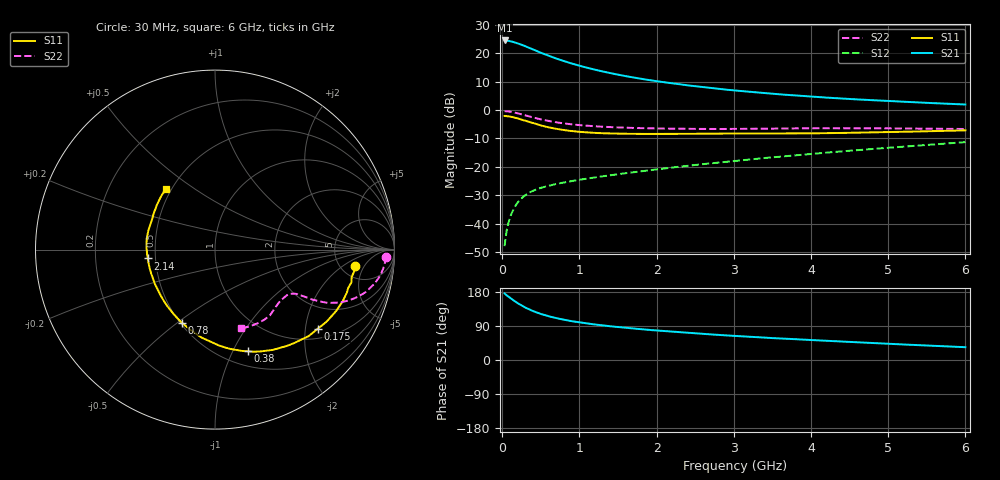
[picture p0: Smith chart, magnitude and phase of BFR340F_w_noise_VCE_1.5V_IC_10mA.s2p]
! Infineon Technologies  Discrete & RF Semiconductors
! BFR340F
! VCE =  1.5 V,  IC =  10 mA
! Common Emitter S-Parameters:  Nov 2015
# GHz  S  MA  R  50
!  f  S11  S21  S12  S22
! GHz  MAG  ANG  MAG  ANG  MAG  ANG  MAG  ANG
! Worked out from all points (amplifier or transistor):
!   206 points, 30 MHz to 6 GHz, reference 50 ohm
!   highest |S21| = 24.5 dB at 30 MHz (marker M1)
!   |S21| within 3 dB of that: start of sweep to 382.8 MHz
!   unconditionally stable (mu >= 1): 1.368 GHz to 5.432 GHz
!   at 200 MHz: K = 0.25, MSG = 28.0 dB, |S12| = -32.6 dB
!   at 1.56 GHz: K = 1.05, MAG = 15.9 dB, |S12| = -22.4 dB
!   at 6 GHz: K = 0.96, MSG = 6.6 dB, |S12| = -11.3 dB
!   lowest NFmin = 1.46 dB at 450 MHz
!   S11 on the Smith chart (normalised r, x): 30 MHz: 6.73, -3.21; 175 MHz: 1.26, -2.33; 380 MHz: 0.65, -1.15; 780 MHz: 0.51, -0.52; 2.14 GHz: 0.45, -0.05; 6 GHz: 0.46, +0.39
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0.03  0.7846 -6.7  16.73 175.6  0.004 85.0  0.9528 -2.4
0.05  0.7765 -11.3  16.58 171.6  0.0065 85.8  0.9498 -4.3
0.09  0.7691 -20.5  16.38 165.7  0.0116 80.3  0.9374 -7.7
0.14  0.7457 -30.7  15.81 158.2  0.0174 75.2  0.9116 -11.7
0.175  0.7224 -37.7  15.24 153.4  0.021 72.1  0.8886 -14.0
0.2  0.7103 -42.7  14.9 149.9  0.0235 70.3  0.8725 -15.7
0.26  0.6691 -53.4  13.89 142.7  0.0287 66.1  0.8297 -18.8
0.3  0.6445 -60.2  13.21 138.2  0.0317 63.8  0.8013 -20.6
0.38  0.5958 -72.1  11.89 130.7  0.0367 60.4  0.7485 -23.2
0.5  0.5349 -87.6  10.17 121.5  0.0426 57.2  0.682 -25.6
0.6  0.4959 -98.6  9.001 115.3  0.0464 55.7  0.6391 -26.6
0.7  0.4654 -107.9  8.029 110.3  0.0499 55.2  0.6053 -27.2
0.78  0.4467 -114.4  7.382 107.0  0.0524 55.3  0.5843 -27.4
0.9  0.4251 -123.5  6.563 102.4  0.056 55.5  0.5579 -27.8
1.04  0.408 -132.3  5.808 98.1  0.0602 56.4  0.5355 -28.2
1.4  0.3861 -149.9  4.448 89.0  0.0708 59.2  0.4982 -29.5
2.02  0.3777 -169.5  3.179 77.5  0.0908 63.7  0.4722 -33.2
2.14  0.3781 -172.5  3.015 75.7  0.0949 64.5  0.4697 -34.1
3.1  0.385 169.6  2.15 62.6  0.1304 68.5  0.4645 -42.7
4.1  0.3886 154.8  1.682 51.7  0.1728 70.1  0.4773 -51.1
5.1  0.4104 141.2  1.416 41.8  0.2211 69.9  0.473 -61.2
6  0.4372 128.9  1.247 33.8  0.2715 68.3  0.4625 -71.5
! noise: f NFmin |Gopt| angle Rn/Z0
0.45  1.46  0.25  -1  0.28
0.9  1.58  0.23  10  0.3
1.9  2.07  0.09  -23  0.3
2.4  2.36  0.04  -58  0.31
